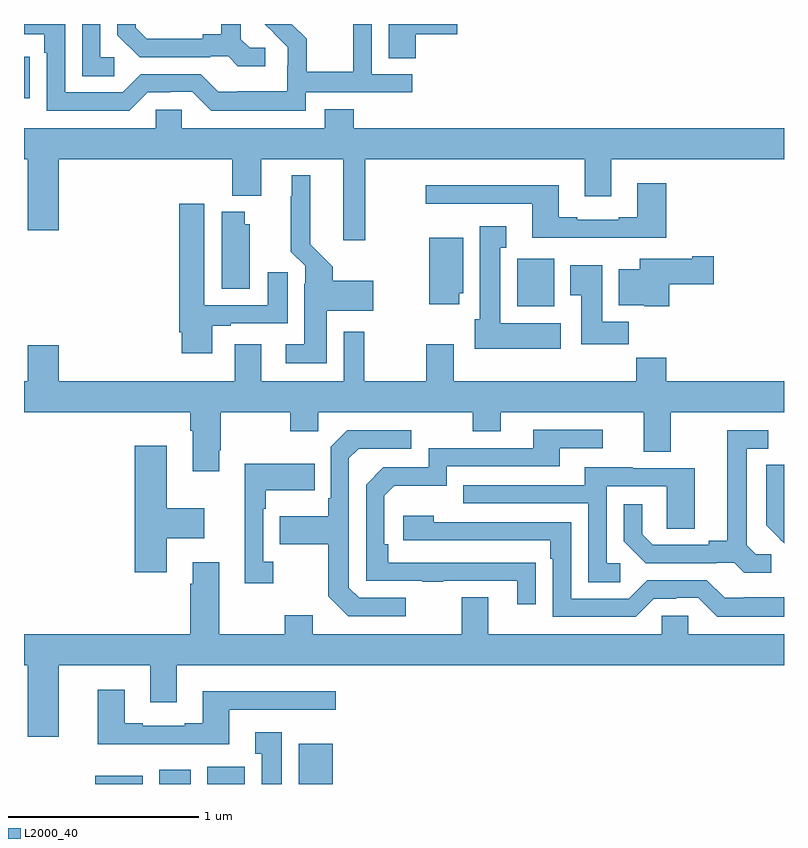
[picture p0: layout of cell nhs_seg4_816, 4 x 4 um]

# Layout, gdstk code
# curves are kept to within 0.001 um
import gdstk
lib = gdstk.Library(unit=1e-6, precision=1e-09)
def R(c, l, rs):  # rectangles x0, y0, x1, y1
    for r in rs: c.add(gdstk.rectangle(r[:2], r[2:], *l))
def P(c, l, *ps):  # polygons
    for p in ps: c.add(gdstk.Polygon(p, *l))
L2000_40 = (2000, 40)

nhs_seg4_816 = lib.new_cell('nhs_seg4_816')
R(nhs_seg4_816, L2000_40, [(153.374,758.9,153.625,758.944), (153.713,758.9,153.877,758.974), (153.965,758.9,154.162,758.992), (154.445,758.9,154.624,759.112), (155.595,761.414,155.791,761.664), (153,762.51,153.029,762.728)])
P(nhs_seg4_816, L2000_40, [(154.482,762.54),(155.044,762.54),(155.044,762.636),(154.83,762.636),(154.83,762.9),(154.734,762.9),(154.734,762.872),(154.732,762.872),(154.732,762.649),(154.487,762.649),(154.487,762.823),(154.41,762.9),(154.407,762.897),(154.404,762.9),(154.268,762.9),(154.388,762.778),(154.388,762.681),(154.386,762.681),(154.386,762.547),(154.123,762.547),(154.123,762.543),(154.023,762.543),(153.93,762.636),(153.615,762.636),(153.519,762.54),(153.216,762.54),(153.216,762.9),(153,762.9),(153,762.846),(153.107,762.846),(153.107,762.749),(153.12,762.749),(153.12,762.444),(153.555,762.444),(153.651,762.54),(153.77,762.54),(153.77,762.543),(153.885,762.543),(153.985,762.443),(154.482,762.443)],
  [(154.27,762.774),(154.188,762.774),(154.141,762.821),(154.141,762.9),(154.037,762.9),(154.037,762.845),(153.941,762.845),(153.941,762.822),(153.646,762.822),(153.589,762.879),(153.589,762.9),(153.492,762.9),(153.492,762.842),(153.608,762.726),(153.98,762.726),(153.98,762.729),(154.074,762.729),(154.126,762.677),(154.27,762.677)],
  [(153.475,762.726),(153.402,762.726),(153.402,762.9),(153.306,762.9),(153.306,762.625),(153.475,762.625)],
  [(155.063,762.845),(155.281,762.845),(155.281,762.9),(154.919,762.9),(154.919,762.721),(155.063,762.721)],
  [(153.831,762.45),(153.693,762.45),(153.693,762.352),(153,762.352),(153,762.188),(153.02,762.188),(153.02,761.814),(153.184,761.814),(153.184,762.188),(154.097,762.188),(154.097,761.996),(154.249,761.996),(154.249,762.188),(154.679,762.188),(154.679,761.763),(154.797,761.763),(154.797,762.188),(155.951,762.188),(155.951,761.994),(156.091,761.994),(156.091,762.188),(157,762.188),(157,762.352),(154.736,762.352),(154.736,762.451),(154.583,762.451),(154.583,762.352),(153.831,762.352)],
  [(154.594,761.39),(154.837,761.39),(154.837,761.548),(154.625,761.548),(154.625,761.622),(154.507,761.74),(154.507,762.103),(154.409,762.103),(154.409,761.993),(154.405,761.993),(154.405,761.702),(154.479,761.628),(154.479,761.534),(154.475,761.534),(154.475,761.215),(154.377,761.215),(154.377,761.114),(154.594,761.114)],
  [(156.38,762.061),(156.227,762.061),(156.227,761.884),(156.131,761.884),(156.131,761.871),(155.911,761.871),(155.911,761.884),(155.815,761.884),(155.815,762.052),(155.115,762.052),(155.115,761.955),(155.675,761.955),(155.675,761.774),(156.38,761.774)],
  [(153.991,761.313),(154.087,761.313),(154.087,761.325),(154.387,761.325),(154.387,761.593),(154.283,761.593),(154.283,761.421),(153.949,761.421),(153.949,761.953),(153.818,761.953),(153.818,761.278),(153.83,761.278),(153.83,761.166),(153.991,761.166)],
  [(154.189,761.847),(154.162,761.847),(154.162,761.911),(154.04,761.911),(154.04,761.506),(154.189,761.506)],
  [(155.824,761.326),(155.506,761.326),(155.506,761.723),(155.539,761.723),(155.539,761.836),(155.399,761.836),(155.399,761.346),(155.372,761.346),(155.372,761.192),(155.824,761.192)],
  [(155.29,761.484),(155.311,761.484),(155.311,761.776),(155.132,761.776),(155.132,761.424),(155.29,761.424)],
  [(156.395,761.531),(156.631,761.531),(156.631,761.678),(156.518,761.678),(156.518,761.665),(156.242,761.665),(156.242,761.608),(156.131,761.608),(156.131,761.42),(156.264,761.42),(156.264,761.414),(156.395,761.414)],
  [(156.182,761.332),(156.043,761.332),(156.043,761.629),(155.876,761.629),(155.876,761.473),(155.933,761.473),(155.933,761.214),(156.182,761.214)],
  [(154.027,760.657),(154.035,760.657),(154.035,760.856),(154.402,760.856),(154.402,760.757),(154.548,760.757),(154.548,760.856),(155.362,760.856),(155.362,760.757),(155.509,760.757),(155.509,760.856),(156.263,760.856),(156.263,760.648),(156.403,760.648),(156.403,760.856),(157,760.856),(157,761.02),(156.38,761.02),(156.38,761.144),(156.223,761.144),(156.223,761.02),(155.263,761.02),(155.263,761.215),(155.116,761.215),(155.116,761.02),(154.792,761.02),(154.792,761.281),(154.683,761.281),(154.683,761.02),(154.249,761.02),(154.249,761.215),(154.109,761.215),(154.109,761.02),(153.184,761.02),(153.184,761.209),(153.02,761.209),(153.02,761.02),(153,761.02),(153,760.856),(153.875,760.856),(153.875,760.76),(153.887,760.76),(153.887,760.545),(154.027,760.545)],
  [(155.693,760.064),(154.916,760.065),(154.916,760.162),(154.896,760.162),(154.896,760.416),(154.949,760.469),(155.226,760.469),(155.226,760.572),(155.821,760.572),(155.821,760.668),(156.046,760.668),(156.046,760.764),(155.681,760.764),(155.681,760.668),(155.13,760.668),(155.13,760.566),(154.89,760.566),(154.8,760.476),(154.8,759.969),(155.095,759.969),(155.095,759.964),(155.207,759.964),(155.207,759.969),(155.597,759.969),(155.597,759.846),(155.693,759.846)],
  [(155.008,759.879),(154.764,759.879),(154.71,759.933),(154.71,760.614),(154.761,760.665),(155.038,760.665),(155.038,760.761),(154.701,760.761),(154.614,760.674),(154.614,760.405),(154.602,760.405),(154.602,760.309),(154.345,760.309),(154.345,760.162),(154.602,760.162),(154.602,759.889),(154.707,759.783),(155.008,759.783)],
  [(156.934,760.11),(156.852,760.11),(156.805,760.157),(156.805,760.665),(156.916,760.665),(156.916,760.761),(156.701,760.761),(156.701,760.181),(156.605,760.181),(156.605,760.158),(156.31,760.158),(156.253,760.215),(156.253,760.372),(156.156,760.372),(156.156,760.178),(156.272,760.062),(156.644,760.062),(156.644,760.065),(156.738,760.065),(156.79,760.013),(156.934,760.013)],
  [(153.751,760.193),(153.949,760.193),(153.949,760.351),(153.751,760.351),(153.751,760.681),(153.584,760.681),(153.584,760.014),(153.751,760.014)],
  [(154.312,760.07),(154.26,760.07),(154.26,760.349),(154.273,760.349),(154.273,760.445),(154.529,760.445),(154.529,760.585),(154.163,760.585),(154.163,759.957),(154.312,759.957)],
  [(157,760.58),(156.906,760.58),(156.906,760.262),(156.979,760.189),(156.978,760.188),(157,760.166)],
  [(156.139,760.062),(156.066,760.062),(156.066,760.467),(156.384,760.467),(156.384,760.243),(156.529,760.243),(156.529,760.563),(156.205,760.563),(156.205,760.567),(155.951,760.567),(155.951,760.473),(155.311,760.473),(155.311,760.377),(155.97,760.377),(155.97,759.961),(156.139,759.961)],
  [(157,759.883),(156.787,759.883),(156.787,759.879),(156.687,759.879),(156.594,759.972),(156.279,759.972),(156.183,759.876),(155.88,759.876),(155.88,760.278),(155.156,760.278),(155.156,760.312),(154.995,760.312),(154.995,760.182),(155.771,760.182),(155.771,760.085),(155.784,760.085),(155.784,759.78),(156.219,759.78),(156.315,759.876),(156.434,759.876),(156.434,759.879),(156.549,759.879),(156.649,759.779),(157,759.779)],
  [(153.184,759.524),(153.665,759.524),(153.665,759.33),(153.805,759.33),(153.805,759.524),(157,759.524),(157,759.688),(156.495,759.688),(156.495,759.786),(156.357,759.786),(156.357,759.688),(155.443,759.688),(155.443,759.883),(155.303,759.883),(155.303,759.688),(154.519,759.688),(154.519,759.787),(154.372,759.787),(154.372,759.688),(154.027,759.688),(154.027,760.066),(153.887,760.066),(153.887,759.953),(153.875,759.953),(153.875,759.688),(153,759.688),(153,759.524),(153.02,759.524),(153.02,759.15),(153.184,759.15)],
  [(154.081,759.291),(154.642,759.291),(154.642,759.388),(153.941,759.388),(153.941,759.22),(153.845,759.22),(153.845,759.207),(153.625,759.207),(153.625,759.22),(153.529,759.22),(153.529,759.397),(153.389,759.397),(153.389,759.11),(154.081,759.11)],
  [(154.357,759.172),(154.217,759.172),(154.217,759.059),(154.25,759.059),(154.25,758.9),(154.357,758.9)])

lib.write_gds('nhs_seg4_816.gds')
